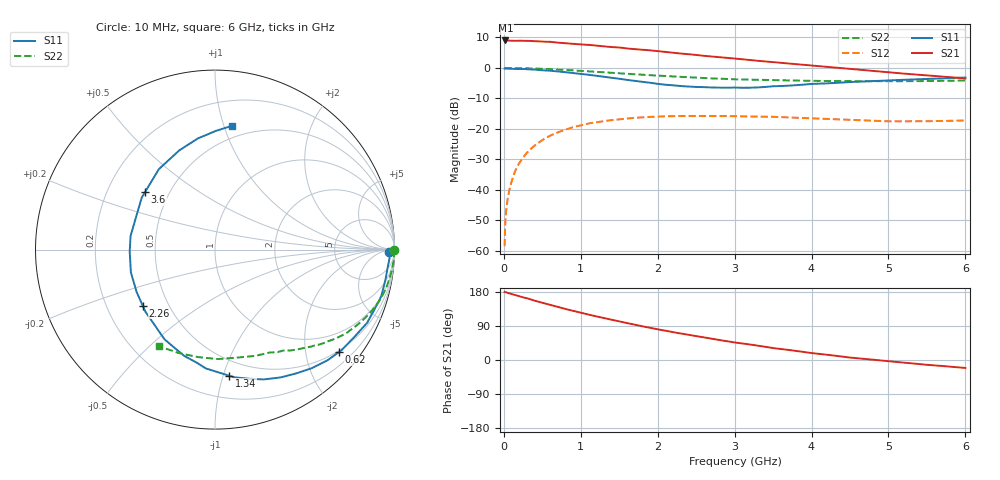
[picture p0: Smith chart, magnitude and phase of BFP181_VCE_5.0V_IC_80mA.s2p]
! Infineon Technologies  Discrete & RF Semiconductors
! BFP181
! VCE = 5.0 V,  IC =  80 mA
! Common Emitter S-Parameters:  Jan 2016
# GHz  S  MA  R  50
!  f  S11  S21  S12  S22
! GHz  MAG  ANG  MAG  ANG  MAG  ANG  MAG  ANG
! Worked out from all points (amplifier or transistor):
!   210 points, 10 MHz to 6 GHz, reference 50 ohm
!   highest |S21| = 9.0 dB at 20 MHz (marker M1)
!   |S21| within 3 dB of that: start of sweep to 1.778 GHz
!   unconditionally stable (mu >= 1): 3.285 GHz to end of sweep
!   at 185 MHz: K = 0.07, MSG = 20.4 dB, |S12| = -31.9 dB
!   at 1.52 GHz: K = 0.49, MSG = 11.7 dB, |S12| = -16.8 dB
!   at 6 GHz: K = 1.33, MAG = 3.5 dB, |S12| = -17.2 dB
!   S11 on the Smith chart (normalised r, x): 10 MHz: 58, -24; 620 MHz: 0.47, -2.70; 1.34 GHz: 0.37, -1.04; 2.26 GHz: 0.36, -0.30; 3.6 GHz: 0.37, +0.32; 6 GHz: 0.40, +1.06
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0.01  0.9712 -0.7  2.815 179.7  0.0012 81.7  0.9993 -0.2
0.02  0.9722 -1.2  2.818 179.4  0.0031 88.2  0.9968 -0.6
0.045  0.9731 -2.7  2.806 177.5  0.0065 91.1  0.9964 -1.4
0.075  0.969 -4.8  2.794 175.7  0.0104 87.0  0.9974 -2.4
0.185  0.9628 -11.8  2.79 169.2  0.0255 81.9  0.9932 -5.6
0.3  0.9518 -19.4  2.789 163.0  0.0407 77.0  0.9861 -9.1
0.42  0.9347 -27.0  2.734 155.4  0.0558 71.6  0.9766 -12.7
0.62  0.8957 -39.7  2.659 144.3  0.0795 63.1  0.9533 -18.4
0.8  0.8527 -50.8  2.553 134.7  0.0972 56.0  0.9278 -23.1
1.02  0.7935 -64.2  2.417 123.8  0.1161 48.0  0.893 -28.5
1.1  0.7727 -69.4  2.393 119.7  0.1229 45.1  0.8802 -30.3
1.34  0.7063 -83.7  2.234 108.9  0.1365 37.5  0.8418 -35.5
1.5  0.6645 -94.3  2.166 101.6  0.1438 33.1  0.8153 -38.5
1.8  0.591 -112.7  1.986 88.8  0.1551 25.8  0.7732 -43.5
2.02  0.5436 -126.7  1.871 80.3  0.1598 20.7  0.7455 -47.0
2.26  0.5098 -142.2  1.738 71.3  0.1627 15.6  0.7176 -50.9
2.8  0.4761 -177.5  1.506 52.7  0.1635 6.6  0.668 -58.9
3.1  0.4732 165.4  1.387 43.7  0.1607 2.7  0.6458 -63.3
3.6  0.5048 140.4  1.212 29.1  0.1562 -2.4  0.6279 -71.2
4.1  0.5516 121.7  1.066 16.2  0.1478 -5.8  0.6119 -80.4
5.1  0.6324 96.8  0.826 -5.1  0.1334 -6.3  0.6055 -100.9
6  0.6962 82.2  0.674 -21.0  0.1376 -2.0  0.6229 -120.3
